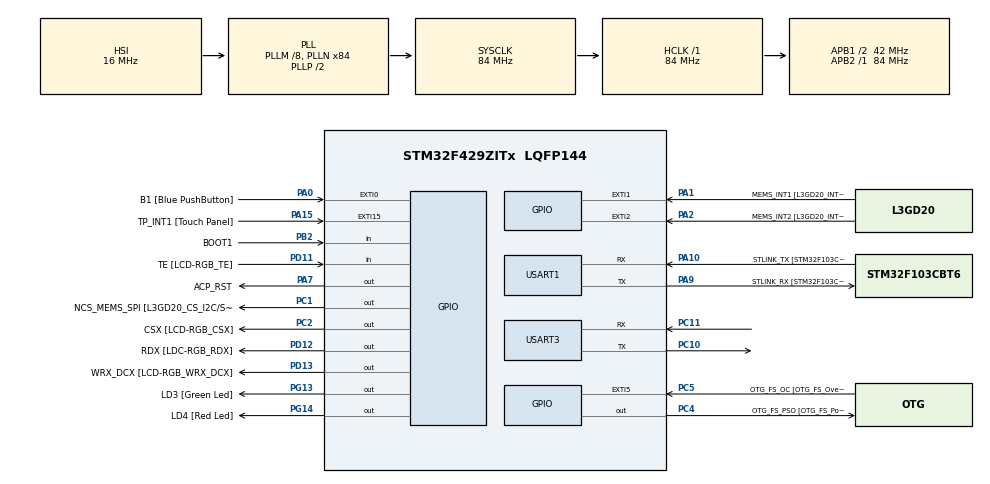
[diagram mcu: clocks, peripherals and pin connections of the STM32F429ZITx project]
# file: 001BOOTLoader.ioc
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Mcu.Family=STM32F4
Mcu.Name=STM32F429ZITx
Mcu.Package=LQFP144
NVIC.PriorityGroup=NVIC_PRIORITYGROUP_0
PA0/WKUP.GPIO_Label=B1 [Blue PushButton]
PA0/WKUP.GPIO_ModeDefaultEXTI=GPIO_MODE_EVT_RISING
PA0/WKUP.GPIO_PuPd=GPIO_NOPULL
PA0/WKUP.Signal=GPXTI0
PA1.GPIO_Label=MEMS_INT1 [L3GD20_INT1]
PA1.GPIO_ModeDefaultEXTI=GPIO_MODE_EVT_RISING
PA1.GPIO_PuPd=GPIO_NOPULL
PA1.Signal=GPXTI1
PA10.GPIO_Label=STLINK_TX [STM32F103CBT6_PA2]
PA10.Mode=Asynchronous
PA10.Signal=USART1_RX
PA11.GPIO_Label=R4
PA11.GPIO_Mode=GPIO_MODE_AF_PP
PA11.GPIO_PuPd=GPIO_NOPULL
PA11.GPIO_Speed=GPIO_SPEED_FREQ_LOW
PA11.Signal=LTDC_R4
PA12.GPIO_Label=R5
PA12.GPIO_Mode=GPIO_MODE_AF_PP
PA12.GPIO_PuPd=GPIO_NOPULL
PA12.GPIO_Speed=GPIO_SPEED_FREQ_LOW
PA12.Signal=LTDC_R5
PA13.GPIO_Label=SWDIO
PA13.Signal=SYS_JTMS-SWDIO
PA14.GPIO_Label=SWCLK
PA14.Signal=SYS_JTCK-SWCLK
PA15.GPIO_Label=TP_INT1 [Touch Panel]
PA15.GPIO_ModeDefaultEXTI=GPIO_MODE_EVT_RISING
PA15.GPIO_PuPd=GPIO_NOPULL
PA15.Signal=GPXTI15
PA2.GPIO_Label=MEMS_INT2 [L3GD20_INT2]
PA2.GPIO_ModeDefaultEXTI=GPIO_MODE_EVT_RISING
PA2.GPIO_PuPd=GPIO_NOPULL
PA2.Signal=GPXTI2
PA3.GPIO_Label=B5
PA3.GPIO_Mode=GPIO_MODE_AF_PP
PA3.GPIO_PuPd=GPIO_NOPULL
PA3.GPIO_Speed=GPIO_SPEED_FREQ_LOW
PA3.Signal=LTDC_B5
PA4.GPIO_Label=VSYNC
PA4.GPIO_Mode=GPIO_MODE_AF_PP
PA4.GPIO_PuPd=GPIO_NOPULL
PA4.GPIO_Speed=GPIO_SPEED_FREQ_LOW
PA4.Signal=LTDC_VSYNC
PA6.GPIO_Label=G2
PA6.GPIO_Mode=GPIO_MODE_AF_PP
PA6.GPIO_PuPd=GPIO_NOPULL
PA6.GPIO_Speed=GPIO_SPEED_FREQ_LOW
PA6.Signal=LTDC_G2
PA7.GPIO_Label=ACP_RST
PA7.GPIO_Mode=GPIO_MODE_OUTPUT_PP
PA7.GPIO_PuPd=GPIO_NOPULL
PA7.GPIO_Speed=GPIO_SPEED_FREQ_LOW
PA7.Signal=GPIO_Output
PA8.GPIO_Label=I2C3_SCL [ACP/RF_SCL]
PA8.GPIO_Mode=GPIO_MODE_AF_OD
PA8.GPIO_PuPd=GPIO_NOPULL
PA8.GPIO_Speed=GPIO_SPEED_FREQ_LOW
PA8.Signal=I2C3_SCL
PA9.GPIO_Label=STLINK_RX [STM32F103CBT6_PA3]
PA9.Mode=Asynchronous
PA9.Signal=USART1_TX
PB0.GPIO_Label=R3
PB0.GPIO_Mode=GPIO_MODE_AF_PP
PB0.GPIO_PuPd=GPIO_NOPULL
PB0.GPIO_Speed=GPIO_SPEED_FREQ_LOW
PB0.Signal=LTDC_R3
PB1.GPIO_Label=R6
PB1.GPIO_Mode=GPIO_MODE_AF_PP
PB1.GPIO_PuPd=GPIO_NOPULL
PB1.GPIO_Speed=GPIO_SPEED_FREQ_LOW
PB1.Signal=LTDC_R6
PB10.GPIO_Label=G4
PB10.GPIO_Mode=GPIO_MODE_AF_PP
PB10.GPIO_PuPd=GPIO_NOPULL
PB10.GPIO_Speed=GPIO_SPEED_FREQ_LOW
PB10.Signal=LTDC_G4
PB11.GPIO_Label=G5
PB11.GPIO_Mode=GPIO_MODE_AF_PP
PB11.GPIO_PuPd=GPIO_NOPULL
PB11.GPIO_Speed=GPIO_SPEED_FREQ_LOW
PB11.Signal=LTDC_G5
PB12.GPIO_Label=OTG_HS_ID
PB12.GPIO_Mode=GPIO_MODE_AF_PP
PB12.GPIO_PuPd=GPIO_NOPULL
PB12.GPIO_Speed=GPIO_SPEED_FREQ_LOW
PB12.Signal=USB_OTG_HS_ID
PB13.GPIO_Label=VBUS_HS
PB13.GPIO_Mode=GPIO_MODE_INPUT
PB13.GPIO_PuPd=GPIO_NOPULL
PB13.Signal=USB_OTG_HS_VBUS
PB14.GPIO_Label=OTG_HS_DM
PB14.GPIO_Mode=GPIO_MODE_AF_PP
PB14.GPIO_PuPd=GPIO_NOPULL
PB14.GPIO_Speed=GPIO_SPEED_FREQ_LOW
PB14.Signal=USB_OTG_HS_DM
PB15.GPIO_Label=OTG_HS_DP
PB15.GPIO_Mode=GPIO_MODE_AF_PP
PB15.GPIO_PuPd=GPIO_NOPULL
PB15.GPIO_Speed=GPIO_SPEED_FREQ_LOW
PB15.Signal=USB_OTG_HS_DP
PB2/BOOT1.GPIO_Label=BOOT1
PB2/BOOT1.GPIO_Mode=GPIO_MODE_INPUT
PB2/BOOT1.GPIO_PuPd=GPIO_NOPULL
PB2/BOOT1.Signal=GPIO_Input
PB5.GPIO_Label=SDCKE1
PB5.GPIO_Mode=GPIO_MODE_AF_PP
PB5.GPIO_PuPd=GPIO_NOPULL
PB5.GPIO_Speed=GPIO_SPEED_FREQ_VERY_HIGH
PB5.Signal=FMC_SDCKE1
PB6.GPIO_Label=SDNE1 [SDRAM_CS]
PB6.GPIO_Mode=GPIO_MODE_AF_PP
PB6.GPIO_PuPd=GPIO_NOPULL
PB6.GPIO_Speed=GPIO_SPEED_FREQ_VERY_HIGH
PB6.Signal=FMC_SDNE1
PB8.GPIO_Label=B6
PB8.GPIO_Mode=GPIO_MODE_AF_PP
PB8.GPIO_PuPd=GPIO_NOPULL
PB8.GPIO_Speed=GPIO_SPEED_FREQ_LOW
PB8.Signal=LTDC_B6
PB9.GPIO_Label=B7
PB9.GPIO_Mode=GPIO_MODE_AF_PP
PB9.GPIO_PuPd=GPIO_NOPULL
PB9.GPIO_Speed=GPIO_SPEED_FREQ_LOW
PB9.Signal=LTDC_B7
PC0.GPIO_Label=SDNWE
PC0.GPIO_Mode=GPIO_MODE_AF_PP
PC0.GPIO_PuPd=GPIO_NOPULL
PC0.GPIO_Speed=GPIO_SPEED_FREQ_VERY_HIGH
PC0.Signal=FMC_SDNWE
PC1.GPIO_Label=NCS_MEMS_SPI [L3GD20_CS_I2C/SPI]
PC1.GPIO_Mode=GPIO_MODE_OUTPUT_PP
PC1.GPIO_PuPd=GPIO_NOPULL
PC1.GPIO_Speed=GPIO_SPEED_FREQ_LOW
PC1.Signal=GPIO_Output
PC10.Mode=Asynchronous
PC10.Signal=USART3_TX
PC11.Mode=Asynchronous
PC11.Signal=USART3_RX
PC14/OSC32_IN.GPIO_Label=PC14-OSC32_IN
PC14/OSC32_IN.Signal=RCC_OSC32_IN
PC15/OSC32_OUT.GPIO_Label=PC15-OSC32_OUT
PC15/OSC32_OUT.Signal=RCC_OSC32_OUT
PC2.GPIO_Label=CSX [LCD-RGB_CSX]
PC2.GPIO_Mode=GPIO_MODE_OUTPUT_PP
PC2.GPIO_PuPd=GPIO_NOPULL
PC2.GPIO_Speed=GPIO_SPEED_FREQ_LOW
PC2.Signal=GPIO_Output
PC4.GPIO_Label=OTG_FS_PSO [OTG_FS_PowerSwitchOn]
PC4.GPIO_Mode=GPIO_MODE_OUTPUT_PP
PC4.GPIO_PuPd=GPIO_NOPULL
PC4.GPIO_Speed=GPIO_SPEED_FREQ_LOW
PC4.Signal=GPIO_Output
PC5.GPIO_Label=OTG_FS_OC [OTG_FS_OverCurrent]
PC5.GPIO_ModeDefaultEXTI=GPIO_MODE_EVT_RISING
PC5.Signal=GPXTI5
PC6.GPIO_Label=HSYNC
PC6.GPIO_Mode=GPIO_MODE_AF_PP
PC6.GPIO_PuPd=GPIO_NOPULL
PC6.GPIO_Speed=GPIO_SPEED_FREQ_LOW
PC6.Signal=LTDC_HSYNC
PC7.GPIO_Label=G6
PC7.GPIO_Mode=GPIO_MODE_AF_PP
PC7.GPIO_PuPd=GPIO_NOPULL
PC7.GPIO_Speed=GPIO_SPEED_FREQ_LOW
PC7.Signal=LTDC_G6
PC9.GPIO_Label=I2C3_SDA [ACP/RF_SDA]
PC9.GPIO_Mode=GPIO_MODE_AF_OD
PC9.GPIO_PuPd=GPIO_NOPULL
PC9.GPIO_Speed=GPIO_SPEED_FREQ_LOW
PC9.Signal=I2C3_SDA
PD0.GPIO_Label=D2
PD0.GPIO_Mode=GPIO_MODE_AF_PP
PD0.GPIO_PuPd=GPIO_NOPULL
PD0.GPIO_Speed=GPIO_SPEED_FREQ_VERY_HIGH
PD0.Signal=FMC_D2_DA2
PD1.GPIO_Label=D3
PD1.GPIO_Mode=GPIO_MODE_AF_PP
PD1.GPIO_PuPd=GPIO_NOPULL
PD1.GPIO_Speed=GPIO_SPEED_FREQ_VERY_HIGH
PD1.Signal=FMC_D3_DA3
PD10.GPIO_Label=D15
PD10.GPIO_Mode=GPIO_MODE_AF_PP
PD10.GPIO_PuPd=GPIO_NOPULL
PD10.GPIO_Speed=GPIO_SPEED_FREQ_VERY_HIGH
PD10.Signal=FMC_D15_DA15
PD11.GPIO_Label=TE [LCD-RGB_TE]
PD11.GPIO_Mode=GPIO_MODE_INPUT
PD11.GPIO_PuPd=GPIO_NOPULL
PD11.Signal=GPIO_Input
PD12.GPIO_Label=RDX [LDC-RGB_RDX]
PD12.GPIO_Mode=GPIO_MODE_OUTPUT_PP
PD12.GPIO_PuPd=GPIO_NOPULL
PD12.GPIO_Speed=GPIO_SPEED_FREQ_LOW
PD12.Signal=GPIO_Output
PD13.GPIO_Label=WRX_DCX [LCD-RGB_WRX_DCX]
PD13.GPIO_Mode=GPIO_MODE_OUTPUT_PP
PD13.GPIO_PuPd=GPIO_NOPULL
PD13.GPIO_Speed=GPIO_SPEED_FREQ_LOW
PD13.Signal=GPIO_Output
PD14.GPIO_Label=D0
PD14.GPIO_Mode=GPIO_MODE_AF_PP
PD14.GPIO_PuPd=GPIO_NOPULL
PD14.GPIO_Speed=GPIO_SPEED_FREQ_VERY_HIGH
PD14.Signal=FMC_D0_DA0
PD15.GPIO_Label=D1
PD15.GPIO_Mode=GPIO_MODE_AF_PP
PD15.GPIO_PuPd=GPIO_NOPULL
PD15.GPIO_Speed=GPIO_SPEED_FREQ_VERY_HIGH
PD15.Signal=FMC_D1_DA1
PD3.GPIO_Label=G7
PD3.GPIO_Mode=GPIO_MODE_AF_PP
PD3.GPIO_PuPd=GPIO_NOPULL
PD3.GPIO_Speed=GPIO_SPEED_FREQ_LOW
PD3.Signal=LTDC_G7
PD6.GPIO_Label=B2
PD6.GPIO_Mode=GPIO_MODE_AF_PP
PD6.GPIO_PuPd=GPIO_NOPULL
PD6.GPIO_Speed=GPIO_SPEED_FREQ_LOW
PD6.Signal=LTDC_B2
PD8.GPIO_Label=D13
PD8.GPIO_Mode=GPIO_MODE_AF_PP
PD8.GPIO_PuPd=GPIO_NOPULL
PD8.GPIO_Speed=GPIO_SPEED_FREQ_VERY_HIGH
PD8.Signal=FMC_D13_DA13
PD9.GPIO_Label=D14
PD9.GPIO_Mode=GPIO_MODE_AF_PP
PD9.GPIO_PuPd=GPIO_NOPULL
PD9.GPIO_Speed=GPIO_SPEED_FREQ_VERY_HIGH
PD9.Signal=FMC_D14_DA14
PE0.GPIO_Label=NBL0 [SDRAM_LDQM]
PE0.GPIO_Mode=GPIO_MODE_AF_PP
PE0.GPIO_PuPd=GPIO_NOPULL
PE0.GPIO_Speed=GPIO_SPEED_FREQ_VERY_HIGH
PE0.Signal=FMC_NBL0
PE1.GPIO_Label=NBL1 [SDRAM_UDQM]
PE1.GPIO_Mode=GPIO_MODE_AF_PP
PE1.GPIO_PuPd=GPIO_NOPULL
PE1.GPIO_Speed=GPIO_SPEED_FREQ_VERY_HIGH
PE1.Signal=FMC_NBL1
PE10.GPIO_Label=D7
PE10.GPIO_Mode=GPIO_MODE_AF_PP
PE10.GPIO_PuPd=GPIO_NOPULL
PE10.GPIO_Speed=GPIO_SPEED_FREQ_VERY_HIGH
PE10.Signal=FMC_D7_DA7
PE11.GPIO_Label=D8
PE11.GPIO_Mode=GPIO_MODE_AF_PP
PE11.GPIO_PuPd=GPIO_NOPULL
PE11.GPIO_Speed=GPIO_SPEED_FREQ_VERY_HIGH
PE11.Signal=FMC_D8_DA8
PE12.GPIO_Label=D9
PE12.GPIO_Mode=GPIO_MODE_AF_PP
PE12.GPIO_PuPd=GPIO_NOPULL
PE12.GPIO_Speed=GPIO_SPEED_FREQ_VERY_HIGH
PE12.Signal=FMC_D9_DA9
PE13.GPIO_Label=D10
PE13.GPIO_Mode=GPIO_MODE_AF_PP
PE13.GPIO_PuPd=GPIO_NOPULL
PE13.GPIO_Speed=GPIO_SPEED_FREQ_VERY_HIGH
PE13.Signal=FMC_D10_DA10
PE14.GPIO_Label=D11
PE14.GPIO_Mode=GPIO_MODE_AF_PP
PE14.GPIO_PuPd=GPIO_NOPULL
PE14.GPIO_Speed=GPIO_SPEED_FREQ_VERY_HIGH
PE14.Signal=FMC_D11_DA11
PE15.GPIO_Label=D12
PE15.GPIO_Mode=GPIO_MODE_AF_PP
PE15.GPIO_PuPd=GPIO_NOPULL
PE15.GPIO_Speed=GPIO_SPEED_FREQ_VERY_HIGH
PE15.Signal=FMC_D12_DA12
PE7.GPIO_Label=D4
PE7.GPIO_Mode=GPIO_MODE_AF_PP
PE7.GPIO_PuPd=GPIO_NOPULL
PE7.GPIO_Speed=GPIO_SPEED_FREQ_VERY_HIGH
PE7.Signal=FMC_D4_DA4
PE8.GPIO_Label=D5
PE8.GPIO_Mode=GPIO_MODE_AF_PP
PE8.GPIO_PuPd=GPIO_NOPULL
PE8.GPIO_Speed=GPIO_SPEED_FREQ_VERY_HIGH
PE8.Signal=FMC_D5_DA5
PE9.GPIO_Label=D6
PE9.GPIO_Mode=GPIO_MODE_AF_PP
PE9.GPIO_PuPd=GPIO_NOPULL
PE9.GPIO_Speed=GPIO_SPEED_FREQ_VERY_HIGH
PE9.Signal=FMC_D6_DA6
PF0.GPIO_Label=A0
PF0.GPIO_Mode=GPIO_MODE_AF_PP
PF0.GPIO_PuPd=GPIO_NOPULL
PF0.GPIO_Speed=GPIO_SPEED_FREQ_VERY_HIGH
PF0.Signal=FMC_A0
PF1.GPIO_Label=A1
PF1.GPIO_Mode=GPIO_MODE_AF_PP
PF1.GPIO_PuPd=GPIO_NOPULL
PF1.GPIO_Speed=GPIO_SPEED_FREQ_VERY_HIGH
PF1.Signal=FMC_A1
PF10.GPIO_Label=ENABLE [LCD-RGB_ENABLE]
PF10.GPIO_Mode=GPIO_MODE_AF_PP
PF10.GPIO_PuPd=GPIO_NOPULL
PF10.GPIO_Speed=GPIO_SPEED_FREQ_LOW
PF10.Signal=LTDC_DE
PF11.GPIO_Label=SDNRAS
PF11.GPIO_Mode=GPIO_MODE_AF_PP
PF11.GPIO_PuPd=GPIO_NOPULL
PF11.GPIO_Speed=GPIO_SPEED_FREQ_VERY_HIGH
PF11.Signal=FMC_SDNRAS
PF12.GPIO_Label=A6
PF12.GPIO_Mode=GPIO_MODE_AF_PP
PF12.GPIO_PuPd=GPIO_NOPULL
PF12.GPIO_Speed=GPIO_SPEED_FREQ_VERY_HIGH
PF12.Signal=FMC_A6
PF13.GPIO_Label=A7
PF13.GPIO_Mode=GPIO_MODE_AF_PP
PF13.GPIO_PuPd=GPIO_NOPULL
PF13.GPIO_Speed=GPIO_SPEED_FREQ_VERY_HIGH
PF13.Signal=FMC_A7
PF14.GPIO_Label=A8
PF14.GPIO_Mode=GPIO_MODE_AF_PP
PF14.GPIO_PuPd=GPIO_NOPULL
PF14.GPIO_Speed=GPIO_SPEED_FREQ_VERY_HIGH
PF14.Signal=FMC_A8
PF15.GPIO_Label=A9
PF15.GPIO_Mode=GPIO_MODE_AF_PP
PF15.GPIO_PuPd=GPIO_NOPULL
PF15.GPIO_Speed=GPIO_SPEED_FREQ_VERY_HIGH
PF15.Signal=FMC_A9
PF2.GPIO_Label=A2
PF2.GPIO_Mode=GPIO_MODE_AF_PP
PF2.GPIO_PuPd=GPIO_NOPULL
PF2.GPIO_Speed=GPIO_SPEED_FREQ_VERY_HIGH
PF2.Signal=FMC_A2
PF3.GPIO_Label=A3
PF3.GPIO_Mode=GPIO_MODE_AF_PP
PF3.GPIO_PuPd=GPIO_NOPULL
PF3.GPIO_Speed=GPIO_SPEED_FREQ_VERY_HIGH
PF3.Signal=FMC_A3
PF4.GPIO_Label=A4
PF4.GPIO_Mode=GPIO_MODE_AF_PP
PF4.GPIO_PuPd=GPIO_NOPULL
PF4.GPIO_Speed=GPIO_SPEED_FREQ_VERY_HIGH
PF4.Signal=FMC_A4
PF5.GPIO_Label=A5
PF5.GPIO_Mode=GPIO_MODE_AF_PP
PF5.GPIO_PuPd=GPIO_NOPULL
PF5.GPIO_Speed=GPIO_SPEED_FREQ_VERY_HIGH
PF5.Signal=FMC_A5
PF7.GPIO_Label=SPI5_SCK [L3GD20_SCL/SPC]
PF7.GPIO_Mode=GPIO_MODE_AF_PP
PF7.GPIO_PuPd=GPIO_NOPULL
PF7.GPIO_Speed=GPIO_SPEED_FREQ_LOW
PF7.Signal=SPI5_SCK
PF8.GPIO_Label=SPI5_MISO [L3GD20_SDO]
PF8.GPIO_Mode=GPIO_MODE_AF_PP
PF8.GPIO_PuPd=GPIO_NOPULL
PF8.GPIO_Speed=GPIO_SPEED_FREQ_LOW
PF8.Signal=SPI5_MISO
PF9.GPIO_Label=SPI5_MOSI [L3GD20_SDA/SDI/SDO]
PF9.GPIO_Mode=GPIO_MODE_AF_PP
PF9.GPIO_PuPd=GPIO_NOPULL
PF9.GPIO_Speed=GPIO_SPEED_FREQ_LOW
PF9.Signal=SPI5_MOSI
PG0.GPIO_Label=A10
PG0.GPIO_Mode=GPIO_MODE_AF_PP
PG0.GPIO_PuPd=GPIO_NOPULL
PG0.GPIO_Speed=GPIO_SPEED_FREQ_VERY_HIGH
PG0.Signal=FMC_A10
PG1.GPIO_Label=A11
PG1.GPIO_Mode=GPIO_MODE_AF_PP
PG1.GPIO_PuPd=GPIO_NOPULL
PG1.GPIO_Speed=GPIO_SPEED_FREQ_VERY_HIGH
PG1.Signal=FMC_A11
PG10.GPIO_Label=G3
PG10.GPIO_Mode=GPIO_MODE_AF_PP
PG10.GPIO_PuPd=GPIO_NOPULL
PG10.GPIO_Speed=GPIO_SPEED_FREQ_LOW
PG10.Signal=LTDC_G3
PG11.GPIO_Label=B3
PG11.GPIO_Mode=GPIO_MODE_AF_PP
PG11.GPIO_PuPd=GPIO_NOPULL
PG11.GPIO_Speed=GPIO_SPEED_FREQ_LOW
PG11.Signal=LTDC_B3
PG12.GPIO_Label=B4
PG12.GPIO_Mode=GPIO_MODE_AF_PP
PG12.GPIO_PuPd=GPIO_NOPULL
PG12.GPIO_Speed=GPIO_SPEED_FREQ_LOW
PG12.Signal=LTDC_B4
PG13.GPIO_Label=LD3 [Green Led]
PG13.GPIO_Mode=GPIO_MODE_OUTPUT_PP
PG13.GPIO_PuPd=GPIO_NOPULL
PG13.GPIO_Speed=GPIO_SPEED_FREQ_LOW
PG13.Signal=GPIO_Output
PG14.GPIO_Label=LD4 [Red Led]
PG14.GPIO_Mode=GPIO_MODE_OUTPUT_PP
PG14.GPIO_PuPd=GPIO_NOPULL
PG14.GPIO_Speed=GPIO_SPEED_FREQ_LOW
PG14.Signal=GPIO_Output
PG15.GPIO_Label=SDNCAS
PG15.GPIO_Mode=GPIO_MODE_AF_PP
PG15.GPIO_PuPd=GPIO_NOPULL
PG15.GPIO_Speed=GPIO_SPEED_FREQ_VERY_HIGH
PG15.Signal=FMC_SDNCAS
PG4.GPIO_Label=BA0
PG4.GPIO_Mode=GPIO_MODE_AF_PP
PG4.GPIO_PuPd=GPIO_NOPULL
PG4.GPIO_Speed=GPIO_SPEED_FREQ_VERY_HIGH
PG4.Signal=FMC_A14_BA0
PG5.GPIO_Label=BA1
PG5.GPIO_Mode=GPIO_MODE_AF_PP
PG5.GPIO_PuPd=GPIO_NOPULL
PG5.GPIO_Speed=GPIO_SPEED_FREQ_VERY_HIGH
PG5.Signal=FMC_A15_BA1
PG6.GPIO_Label=R7
PG6.GPIO_Mode=GPIO_MODE_AF_PP
PG6.GPIO_PuPd=GPIO_NOPULL
PG6.GPIO_Speed=GPIO_SPEED_FREQ_LOW
PG6.Signal=LTDC_R7
PG7.GPIO_Label=DOTCLK [LCT-RGB_DOTCLK]
PG7.GPIO_Mode=GPIO_MODE_AF_PP
PG7.GPIO_PuPd=GPIO_NOPULL
PG7.GPIO_Speed=GPIO_SPEED_FREQ_LOW
PG7.Signal=LTDC_CLK
PG8.GPIO_Label=SDCLK
PG8.GPIO_Mode=GPIO_MODE_AF_PP
PG8.GPIO_PuPd=GPIO_NOPULL
PG8.GPIO_Speed=GPIO_SPEED_FREQ_VERY_HIGH
PG8.Signal=FMC_SDCLK
PH0/OSC_IN.GPIO_Label=PH0-OSC_IN
PH0/OSC_IN.Signal=RCC_OSC_IN
PH1/OSC_OUT.GPIO_Label=PH1-OSC_OUT
PH1/OSC_OUT.Signal=RCC_OSC_OUT
ProjectManager.HeapSize=0x200
ProjectManager.StackSize=0x400
ProjectManager.TargetToolchain=STM32CubeIDE
RCC.48MHZClocksFreq_Value=24000000
RCC.AHBFreq_Value=84000000
RCC.APB1CLKDivider=RCC_HCLK_DIV2
RCC.APB1Freq_Value=42000000
RCC.APB1TimFreq_Value=84000000
RCC.APB2Freq_Value=84000000
RCC.APB2TimFreq_Value=84000000
RCC.CortexFreq_Value=84000000
RCC.HCLKFreq_Value=84000000
RCC.HSE_VALUE=8000000
RCC.HSI_VALUE=16000000
RCC.LSE_VALUE=32768
RCC.PLLM=8
RCC.PLLN=84
RCC.PLLQ=7
RCC.SYSCLKFreq_VALUE=84000000
RCC.SYSCLKSource=RCC_SYSCLKSOURCE_PLLCLK
RCC.VCOOutputFreq_Value=168000000
SH.FMC_A0.0=FMC_A0
SH.FMC_A1.0=FMC_A1
SH.FMC_A10.0=FMC_A10
SH.FMC_A11.0=FMC_A11
SH.FMC_A14_BA0.0=FMC_BA0
SH.FMC_A15_BA1.0=FMC_BA1
SH.FMC_A2.0=FMC_A2
SH.FMC_A3.0=FMC_A3
SH.FMC_A4.0=FMC_A4
SH.FMC_A5.0=FMC_A5
SH.FMC_A6.0=FMC_A6
SH.FMC_A7.0=FMC_A7
SH.FMC_A8.0=FMC_A8
SH.FMC_A9.0=FMC_A9
SH.FMC_D0_DA0.0=FMC_D0
SH.FMC_D10_DA10.0=FMC_D10
SH.FMC_D11_DA11.0=FMC_D11
SH.FMC_D12_DA12.0=FMC_D12
SH.FMC_D13_DA13.0=FMC_D13
SH.FMC_D14_DA14.0=FMC_D14
SH.FMC_D15_DA15.0=FMC_D15
SH.FMC_D1_DA1.0=FMC_D1
SH.FMC_D2_DA2.0=FMC_D2
SH.FMC_D3_DA3.0=FMC_D3
SH.FMC_D4_DA4.0=FMC_D4
SH.FMC_D5_DA5.0=FMC_D5
SH.FMC_D6_DA6.0=FMC_D6
SH.FMC_D7_DA7.0=FMC_D7
SH.FMC_D8_DA8.0=FMC_D8
SH.FMC_D9_DA9.0=FMC_D9
SH.FMC_NBL0.0=FMC_NBL0
SH.FMC_NBL1.0=FMC_NBL1
SH.FMC_SDCLK.0=FMC_SDCLK
SH.FMC_SDNCAS.0=FMC_SDNCAS
SH.FMC_SDNRAS.0=FMC_SDNRAS
SH.FMC_SDNWE.0=FMC_SDNWE
USART1.VirtualMode=VM_ASYNC
USART3.VirtualMode=VM_ASYNC
VP_CRC_VS_CRC.Mode=CRC_Activate
board=STM32F429I-DISC1

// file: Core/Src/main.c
/* USER CODE BEGIN Header */
/**
  ******************************************************************************
  * @file           : main.c
  * @brief          : Main program body
  ******************************************************************************
  * @attention
  *
  * <h2><center>&copy; Copyright (c) 2021 STMicroelectronics.
  * All rights reserved.</center></h2>
  *
  * This software component is licensed by ST under BSD 3-Clause license,
  * the "License"; You may not use this file except in compliance with the
  * License. You may obtain a copy of the License at:
  *                        opensource.org/licenses/BSD-3-Clause
  *
  ******************************************************************************
  */
/* USER CODE END Header */
#include "main.h"

/* USER CODE BEGIN PD */

// Enable this line to get debug messages over debug UART
#define BL_DEBUG_MSG_EN

/* USER CODE END PD */

CRC_HandleTypeDef hcrc;

UART_HandleTypeDef huart1;
UART_HandleTypeDef huart3;

void SystemClock_Config(void);
static void MX_GPIO_Init(void);
static void MX_CRC_Init(void);
static void MX_USART1_UART_Init(void);
static void MX_USART3_UART_Init(void);

int main(void)
{

  /* MCU Configuration--------------------------------------------------------*/

  /* Reset of all peripherals, Initializes the Flash interface and the Systick. */
  HAL_Init();

  /* Configure the system clock */
  SystemClock_Config();

  /* Initialize all configured peripherals */
  MX_GPIO_Init();
  MX_CRC_Init();
  MX_USART1_UART_Init();
  MX_USART3_UART_Init();
  /* USER CODE BEGIN 2 */

  /* Lets check whether button is pressed or not, if not pressed jump to user application */
  if ( HAL_GPIO_ReadPin(B1_GPIO_Port, B1_Pin) == GPIO_PIN_SET )
  {
	  printmsg("BL_DEBUG_MSG: Button is pressed .. going to BL mode\r\n");

	  //we should continue in Bootloader mode
	  bootloader_uart_read_data();

  }
  else
  {
	  printmsg("BL_DEBUG_MSG: Button is not pressed .. executing USER Application\r\n");
	  //jump to user application
	  bootloader_jump_to_user_app();

  }

  /* USER CODE END 2 */

  /* Infinite loop */
  while (1)
  {

  }
}

void SystemClock_Config(void)
{
  RCC_OscInitTypeDef RCC_OscInitStruct = {0};
  RCC_ClkInitTypeDef RCC_ClkInitStruct = {0};

  /** Configure the main internal regulator output voltage
  */
  __HAL_RCC_PWR_CLK_ENABLE();
  __HAL_PWR_VOLTAGESCALING_CONFIG(PWR_REGULATOR_VOLTAGE_SCALE3);
  /** Initializes the RCC Oscillators according to the specified parameters
  * in the RCC_OscInitTypeDef structure.
  */
  RCC_OscInitStruct.OscillatorType = RCC_OSCILLATORTYPE_HSI;
  RCC_OscInitStruct.HSIState = RCC_HSI_ON;
  RCC_OscInitStruct.HSICalibrationValue = RCC_HSICALIBRATION_DEFAULT;
  RCC_OscInitStruct.PLL.PLLState = RCC_PLL_ON;
  RCC_OscInitStruct.PLL.PLLSource = RCC_PLLSOURCE_HSI;
  RCC_OscInitStruct.PLL.PLLM = 8;
  RCC_OscInitStruct.PLL.PLLN = 84;
  RCC_OscInitStruct.PLL.PLLP = RCC_PLLP_DIV2;
  RCC_OscInitStruct.PLL.PLLQ = 7;
  if (HAL_RCC_OscConfig(&RCC_OscInitStruct) != HAL_OK)
  {
    Error_Handler();
  }
  /** Initializes the CPU, AHB and APB buses clocks
  */
  RCC_ClkInitStruct.ClockType = RCC_CLOCKTYPE_HCLK|RCC_CLOCKTYPE_SYSCLK
                              |RCC_CLOCKTYPE_PCLK1|RCC_CLOCKTYPE_PCLK2;
  RCC_ClkInitStruct.SYSCLKSource = RCC_SYSCLKSOURCE_PLLCLK;
  RCC_ClkInitStruct.AHBCLKDivider = RCC_SYSCLK_DIV1;
  RCC_ClkInitStruct.APB1CLKDivider = RCC_HCLK_DIV2;
  RCC_ClkInitStruct.APB2CLKDivider = RCC_HCLK_DIV1;

  if (HAL_RCC_ClockConfig(&RCC_ClkInitStruct, FLASH_LATENCY_2) != HAL_OK)
  {
    Error_Handler();
  }
}

static void MX_CRC_Init(void)
{

  hcrc.Instance = CRC;
  if (HAL_CRC_Init(&hcrc) != HAL_OK)
  {
    Error_Handler();
  }

}

static void MX_USART1_UART_Init(void)
{

  huart1.Instance = USART1;
  huart1.Init.BaudRate = 115200;
  huart1.Init.WordLength = UART_WORDLENGTH_8B;
  huart1.Init.StopBits = UART_STOPBITS_1;
  huart1.Init.Parity = UART_PARITY_NONE;
  huart1.Init.Mode = UART_MODE_TX_RX;
  huart1.Init.HwFlowCtl = UART_HWCONTROL_NONE;
  huart1.Init.OverSampling = UART_OVERSAMPLING_16;
  if (HAL_UART_Init(&huart1) != HAL_OK)
  {
    Error_Handler();
  }

}

static void MX_USART3_UART_Init(void)
{

  huart3.Instance = USART3;
  huart3.Init.BaudRate = 115200;
  huart3.Init.WordLength = UART_WORDLENGTH_8B;
  huart3.Init.StopBits = UART_STOPBITS_1;
  huart3.Init.Parity = UART_PARITY_NONE;
  huart3.Init.Mode = UART_MODE_TX_RX;
  huart3.Init.HwFlowCtl = UART_HWCONTROL_NONE;
  huart3.Init.OverSampling = UART_OVERSAMPLING_16;
  if (HAL_UART_Init(&huart3) != HAL_OK)
  {
    Error_Handler();
  }

}

static void MX_GPIO_Init(void)
{
  GPIO_InitTypeDef GPIO_InitStruct = {0};

  /* GPIO Ports Clock Enable */
  __HAL_RCC_GPIOC_CLK_ENABLE();
  __HAL_RCC_GPIOF_CLK_ENABLE();
  __HAL_RCC_GPIOH_CLK_ENABLE();
  __HAL_RCC_GPIOA_CLK_ENABLE();
  __HAL_RCC_GPIOB_CLK_ENABLE();
  __HAL_RCC_GPIOG_CLK_ENABLE();
  __HAL_RCC_GPIOE_CLK_ENABLE();
  __HAL_RCC_GPIOD_CLK_ENABLE();

  /*Configure GPIO pin Output Level */
  HAL_GPIO_WritePin(GPIOC, NCS_MEMS_SPI_Pin|CSX_Pin|OTG_FS_PSO_Pin, GPIO_PIN_RESET);

  /*Configure GPIO pin Output Level */
  HAL_GPIO_WritePin(ACP_RST_GPIO_Port, ACP_RST_Pin, GPIO_PIN_RESET);

  /*Configure GPIO pin Output Level */
  HAL_GPIO_WritePin(GPIOD, RDX_Pin|WRX_DCX_Pin, GPIO_PIN_RESET);

  /*Configure GPIO pin Output Level */
  HAL_GPIO_WritePin(GPIOG, LD3_Pin|LD4_Pin, GPIO_PIN_RESET);

  /*Configure GPIO pins : A0_Pin A1_Pin A2_Pin A3_Pin
                           A4_Pin A5_Pin SDNRAS_Pin A6_Pin
                           A7_Pin A8_Pin A9_Pin */
  GPIO_InitStruct.Pin = A0_Pin|A1_Pin|A2_Pin|A3_Pin
                          |A4_Pin|A5_Pin|SDNRAS_Pin|A6_Pin
                          |A7_Pin|A8_Pin|A9_Pin;
  GPIO_InitStruct.Mode = GPIO_MODE_AF_PP;
  GPIO_InitStruct.Pull = GPIO_NOPULL;
  GPIO_InitStruct.Speed = GPIO_SPEED_FREQ_VERY_HIGH;
  GPIO_InitStruct.Alternate = GPIO_AF12_FMC;
  HAL_GPIO_Init(GPIOF, &GPIO_InitStruct);

  /*Configure GPIO pins : SPI5_SCK_Pin SPI5_MISO_Pin SPI5_MOSI_Pin */
  GPIO_InitStruct.Pin = SPI5_SCK_Pin|SPI5_MISO_Pin|SPI5_MOSI_Pin;
  GPIO_InitStruct.Mode = GPIO_MODE_AF_PP;
  GPIO_InitStruct.Pull = GPIO_NOPULL;
  GPIO_InitStruct.Speed = GPIO_SPEED_FREQ_LOW;
  GPIO_InitStruct.Alternate = GPIO_AF5_SPI5;
  HAL_GPIO_Init(GPIOF, &GPIO_InitStruct);

  /*Configure GPIO pin : ENABLE_Pin */
  GPIO_InitStruct.Pin = ENABLE_Pin;
  GPIO_InitStruct.Mode = GPIO_MODE_AF_PP;
  GPIO_InitStruct.Pull = GPIO_NOPULL;
  GPIO_InitStruct.Speed = GPIO_SPEED_FREQ_LOW;
  GPIO_InitStruct.Alternate = GPIO_AF14_LTDC;
  HAL_GPIO_Init(ENABLE_GPIO_Port, &GPIO_InitStruct);

  /*Configure GPIO pin : SDNWE_Pin */
  GPIO_InitStruct.Pin = SDNWE_Pin;
  GPIO_InitStruct.Mode = GPIO_MODE_AF_PP;
  GPIO_InitStruct.Pull = GPIO_NOPULL;
  GPIO_InitStruct.Speed = GPIO_SPEED_FREQ_VERY_HIGH;
  GPIO_InitStruct.Alternate = GPIO_AF12_FMC;
  HAL_GPIO_Init(SDNWE_GPIO_Port, &GPIO_InitStruct);

  /*Configure GPIO pins : NCS_MEMS_SPI_Pin CSX_Pin OTG_FS_PSO_Pin */
  GPIO_InitStruct.Pin = NCS_MEMS_SPI_Pin|CSX_Pin|OTG_FS_PSO_Pin;
  GPIO_InitStruct.Mode = GPIO_MODE_OUTPUT_PP;
  GPIO_InitStruct.Pull = GPIO_NOPULL;
  GPIO_InitStruct.Speed = GPIO_SPEED_FREQ_LOW;
  HAL_GPIO_Init(GPIOC, &GPIO_InitStruct);

  /*Configure GPIO pins : B1_Pin MEMS_INT1_Pin MEMS_INT2_Pin TP_INT1_Pin */
  GPIO_InitStruct.Pin = B1_Pin|MEMS_INT1_Pin|MEMS_INT2_Pin|TP_INT1_Pin;
  GPIO_InitStruct.Mode = GPIO_MODE_EVT_RISING;
  GPIO_InitStruct.Pull = GPIO_NOPULL;
  HAL_GPIO_Init(GPIOA, &GPIO_InitStruct);

  /*Configure GPIO pins : B5_Pin VSYNC_Pin G2_Pin R4_Pin
                           R5_Pin */
  GPIO_InitStruct.Pin = B5_Pin|VSYNC_Pin|G2_Pin|R4_Pin
                          |R5_Pin;
  GPIO_InitStruct.Mode = GPIO_MODE_AF_PP;
  GPIO_InitStruct.Pull = GPIO_NOPULL;
  GPIO_InitStruct.Speed = GPIO_SPEED_FREQ_LOW;
  GPIO_InitStruct.Alternate = GPIO_AF14_LTDC;
  HAL_GPIO_Init(GPIOA, &GPIO_InitStruct);

  /*Configure GPIO pin : ACP_RST_Pin */
  GPIO_InitStruct.Pin = ACP_RST_Pin;
  GPIO_InitStruct.Mode = GPIO_MODE_OUTPUT_PP;
  GPIO_InitStruct.Pull = GPIO_NOPULL;
  GPIO_InitStruct.Speed = GPIO_SPEED_FREQ_LOW;
  HAL_GPIO_Init(ACP_RST_GPIO_Port, &GPIO_InitStruct);

  /*Configure GPIO pin : OTG_FS_OC_Pin */
  GPIO_InitStruct.Pin = OTG_FS_OC_Pin;
  GPIO_InitStruct.Mode = GPIO_MODE_EVT_RISING;
  GPIO_InitStruct.Pull = GPIO_NOPULL;
  HAL_GPIO_Init(OTG_FS_OC_GPIO_Port, &GPIO_InitStruct);

  /*Configure GPIO pins : R3_Pin R6_Pin */
  GPIO_InitStruct.Pin = R3_Pin|R6_Pin;
  GPIO_InitStruct.Mode = GPIO_MODE_AF_PP;
  GPIO_InitStruct.Pull = GPIO_NOPULL;
  GPIO_InitStruct.Speed = GPIO_SPEED_FREQ_LOW;
  GPIO_InitStruct.Alternate = GPIO_AF9_LTDC;
  HAL_GPIO_Init(GPIOB, &GPIO_InitStruct);

  /*Configure GPIO pin : BOOT1_Pin */
  GPIO_InitStruct.Pin = BOOT1_Pin;
  GPIO_InitStruct.Mode = GPIO_MODE_INPUT;
  GPIO_InitStruct.Pull = GPIO_NOPULL;
  HAL_GPIO_Init(BOOT1_GPIO_Port, &GPIO_InitStruct);

  /*Configure GPIO pins : A10_Pin A11_Pin BA0_Pin BA1_Pin
                           SDCLK_Pin SDNCAS_Pin */
  GPIO_InitStruct.Pin = A10_Pin|A11_Pin|BA0_Pin|BA1_Pin
                          |SDCLK_Pin|SDNCAS_Pin;
  GPIO_InitStruct.Mode = GPIO_MODE_AF_PP;
  GPIO_InitStruct.Pull = GPIO_NOPULL;
  GPIO_InitStruct.Speed = GPIO_SPEED_FREQ_VERY_HIGH;
  GPIO_InitStruct.Alternate = GPIO_AF12_FMC;
  HAL_GPIO_Init(GPIOG, &GPIO_InitStruct);

  /*Configure GPIO pins : D4_Pin D5_Pin D6_Pin D7_Pin
                           D8_Pin D9_Pin D10_Pin D11_Pin
                           D12_Pin NBL0_Pin NBL1_Pin */
  GPIO_InitStruct.Pin = D4_Pin|D5_Pin|D6_Pin|D7_Pin
                          |D8_Pin|D9_Pin|D10_Pin|D11_Pin
                          |D12_Pin|NBL0_Pin|NBL1_Pin;
  GPIO_InitStruct.Mode = GPIO_MODE_AF_PP;
  GPIO_InitStruct.Pull = GPIO_NOPULL;
  GPIO_InitStruct.Speed = GPIO_SPEED_FREQ_VERY_HIGH;
  GPIO_InitStruct.Alternate = GPIO_AF12_FMC;
  HAL_GPIO_Init(GPIOE, &GPIO_InitStruct);

  /*Configure GPIO pins : G4_Pin G5_Pin B6_Pin B7_Pin */
  GPIO_InitStruct.Pin = G4_Pin|G5_Pin|B6_Pin|B7_Pin;
  GPIO_InitStruct.Mode = GPIO_MODE_AF_PP;
  GPIO_InitStruct.Pull = GPIO_NOPULL;
  GPIO_InitStruct.Speed = GPIO_SPEED_FREQ_LOW;
  GPIO_InitStruct.Alternate = GPIO_AF14_LTDC;
  HAL_GPIO_Init(GPIOB, &GPIO_InitStruct);

  /*Configure GPIO pins : OTG_HS_ID_Pin OTG_HS_DM_Pin OTG_HS_DP_Pin */
  GPIO_InitStruct.Pin = OTG_HS_ID_Pin|OTG_HS_DM_Pin|OTG_HS_DP_Pin;
  GPIO_InitStruct.Mode = GPIO_MODE_AF_PP;
  GPIO_InitStruct.Pull = GPIO_NOPULL;
  GPIO_InitStruct.Speed = GPIO_SPEED_FREQ_LOW;
  GPIO_InitStruct.Alternate = GPIO_AF12_OTG_HS_FS;
  HAL_GPIO_Init(GPIOB, &GPIO_InitStruct);

  /*Configure GPIO pin : VBUS_HS_Pin */
  GPIO_InitStruct.Pin = VBUS_HS_Pin;
  GPIO_InitStruct.Mode = GPIO_MODE_INPUT;
  GPIO_InitStruct.Pull = GPIO_NOPULL;
  HAL_GPIO_Init(VBUS_HS_GPIO_Port, &GPIO_InitStruct);

  /*Configure GPIO pins : D13_Pin D14_Pin D15_Pin D0_Pin
                           D1_Pin D2_Pin D3_Pin */
  GPIO_InitStruct.Pin = D13_Pin|D14_Pin|D15_Pin|D0_Pin
                          |D1_Pin|D2_Pin|D3_Pin;
  GPIO_InitStruct.Mode = GPIO_MODE_AF_PP;
  GPIO_InitStruct.Pull = GPIO_NOPULL;
  GPIO_InitStruct.Speed = GPIO_SPEED_FREQ_VERY_HIGH;
  GPIO_InitStruct.Alternate = GPIO_AF12_FMC;
  HAL_GPIO_Init(GPIOD, &GPIO_InitStruct);

  /*Configure GPIO pin : TE_Pin */
  GPIO_InitStruct.Pin = TE_Pin;
  GPIO_InitStruct.Mode = GPIO_MODE_INPUT;
  GPIO_InitStruct.Pull = GPIO_NOPULL;
  HAL_GPIO_Init(TE_GPIO_Port, &GPIO_InitStruct);

  /*Configure GPIO pins : RDX_Pin WRX_DCX_Pin */
  GPIO_InitStruct.Pin = RDX_Pin|WRX_DCX_Pin;
  GPIO_InitStruct.Mode = GPIO_MODE_OUTPUT_PP;
  GPIO_InitStruct.Pull = GPIO_NOPULL;
  GPIO_InitStruct.Speed = GPIO_SPEED_FREQ_LOW;
  HAL_GPIO_Init(GPIOD, &GPIO_InitStruct);

  /*Configure GPIO pins : R7_Pin DOTCLK_Pin B3_Pin */
  GPIO_InitStruct.Pin = R7_Pin|DOTCLK_Pin|B3_Pin;
  GPIO_InitStruct.Mode = GPIO_MODE_AF_PP;
  GPIO_InitStruct.Pull = GPIO_NOPULL;
  GPIO_InitStruct.Speed = GPIO_SPEED_FREQ_LOW;
  GPIO_InitStruct.Alternate = GPIO_AF14_LTDC;
  HAL_GPIO_Init(GPIOG, &GPIO_InitStruct);

  /*Configure GPIO pins : HSYNC_Pin G6_Pin */
  GPIO_InitStruct.Pin = HSYNC_Pin|G6_Pin;
  GPIO_InitStruct.Mode = GPIO_MODE_AF_PP;
  GPIO_InitStruct.Pull = GPIO_NOPULL;
  GPIO_InitStruct.Speed = GPIO_SPEED_FREQ_LOW;
  GPIO_InitStruct.Alternate = GPIO_AF14_LTDC;
  HAL_GPIO_Init(GPIOC, &GPIO_InitStruct);

  /*Configure GPIO pin : I2C3_SDA_Pin */
  GPIO_InitStruct.Pin = I2C3_SDA_Pin;
  GPIO_InitStruct.Mode = GPIO_MODE_AF_OD;
  GPIO_InitStruct.Pull = GPIO_NOPULL;
  GPIO_InitStruct.Speed = GPIO_SPEED_FREQ_LOW;
  GPIO_InitStruct.Alternate = GPIO_AF4_I2C3;
  HAL_GPIO_Init(I2C3_SDA_GPIO_Port, &GPIO_InitStruct);

  /*Configure GPIO pin : I2C3_SCL_Pin */
  GPIO_InitStruct.Pin = I2C3_SCL_Pin;
  GPIO_InitStruct.Mode = GPIO_MODE_AF_OD;
  GPIO_InitStruct.Pull = GPIO_NOPULL;
  GPIO_InitStruct.Speed = GPIO_SPEED_FREQ_LOW;
  GPIO_InitStruct.Alternate = GPIO_AF4_I2C3;
  HAL_GPIO_Init(I2C3_SCL_GPIO_Port, &GPIO_InitStruct);

  /*Configure GPIO pins : G7_Pin B2_Pin */
  GPIO_InitStruct.Pin = G7_Pin|B2_Pin;
  GPIO_InitStruct.Mode = GPIO_MODE_AF_PP;
  GPIO_InitStruct.Pull = GPIO_NOPULL;
  GPIO_InitStruct.Speed = GPIO_SPEED_FREQ_LOW;
  GPIO_InitStruct.Alternate = GPIO_AF14_LTDC;
  HAL_GPIO_Init(GPIOD, &GPIO_InitStruct);

  /*Configure GPIO pins : G3_Pin B4_Pin */
  GPIO_InitStruct.Pin = G3_Pin|B4_Pin;
  GPIO_InitStruct.Mode = GPIO_MODE_AF_PP;
  GPIO_InitStruct.Pull = GPIO_NOPULL;
  GPIO_InitStruct.Speed = GPIO_SPEED_FREQ_LOW;
  GPIO_InitStruct.Alternate = GPIO_AF9_LTDC;
  HAL_GPIO_Init(GPIOG, &GPIO_InitStruct);

  /*Configure GPIO pins : LD3_Pin LD4_Pin */
  GPIO_InitStruct.Pin = LD3_Pin|LD4_Pin;
  GPIO_InitStruct.Mode = GPIO_MODE_OUTPUT_PP;
  GPIO_InitStruct.Pull = GPIO_NOPULL;
  GPIO_InitStruct.Speed = GPIO_SPEED_FREQ_LOW;
  HAL_GPIO_Init(GPIOG, &GPIO_InitStruct);

  /*Configure GPIO pins : SDCKE1_Pin SDNE1_Pin */
  GPIO_InitStruct.Pin = SDCKE1_Pin|SDNE1_Pin;
  GPIO_InitStruct.Mode = GPIO_MODE_AF_PP;
  GPIO_InitStruct.Pull = GPIO_NOPULL;
  GPIO_InitStruct.Speed = GPIO_SPEED_FREQ_VERY_HIGH;
  GPIO_InitStruct.Alternate = GPIO_AF12_FMC;
  HAL_GPIO_Init(GPIOB, &GPIO_InitStruct);

}

/* USER CODE BEGIN 4 */

/* Prints formatted string to console over UART */
void printmsg(char *format, ...)
{
#ifdef BL_DEBUG_MSG_EN
	char str[100];
	/* Extract the argument list using VA API */
	va_list args;
	va_start(args, format);
	vsprintf(str, format, args);
	HAL_UART_Transmit(D_UART, (uint8_t*)str, strlen(str), HAL_MAX_DELAY);
	va_end(args);
#endif
}

/* USER CODE END 4 */

void Error_Handler(void)
{
  __disable_irq();
  while (1)
  {
  }
}

/************************ (C) COPYRIGHT STMicroelectronics *****END OF FILE****/
